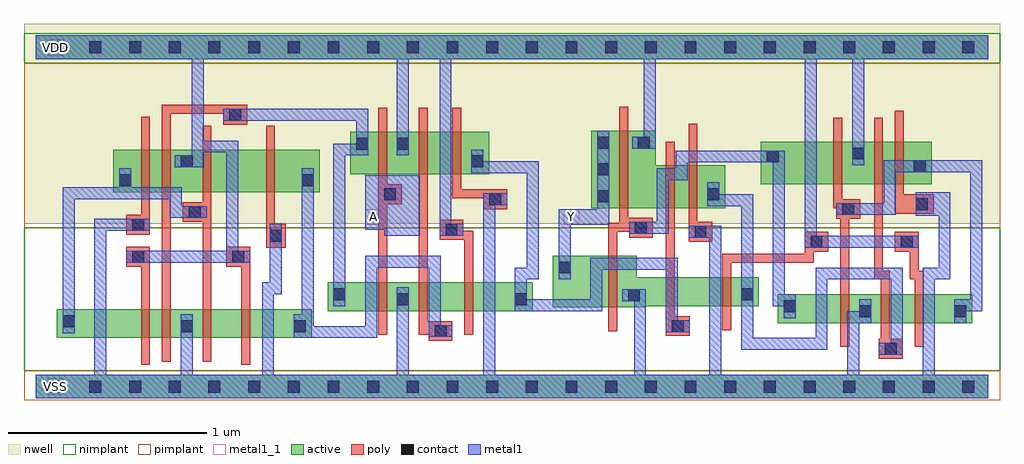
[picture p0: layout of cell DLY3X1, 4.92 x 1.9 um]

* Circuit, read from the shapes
.subckt DLY3X1 A VDD VSS Y
M1 n1 VDD n2 VSS nfet w=0.145u l=0.045u
M2 VSS n3 n1 VSS nfet w=0.145u l=0.045u
M3 n4 n2 VSS VSS nfet w=0.145u l=0.045u
M4 n5 VDD n4 VSS nfet w=0.145u l=0.045u
M5 VSS A n3 VSS nfet w=0.145u l=0.045u
M6 n6 n5 VSS VSS nfet w=0.145u l=0.045u
M7 n7 VDD n6 VSS nfet w=0.145u l=0.045u
M8 VSS n8 Y VSS nfet w=0.26u l=0.045u
M9 n9 n7 VSS VSS nfet w=0.145u l=0.045u
M10 n10 VDD n9 VSS nfet w=0.145u l=0.045u
M11 VSS n11 n8 VSS nfet w=0.145u l=0.045u
M12 n12 n10 VSS VSS nfet w=0.145u l=0.045u
M13 n11 VDD n12 VSS nfet w=0.145u l=0.045u
M14 n13 VSS n2 VDD pfet w=0.215u l=0.045u
M15 VDD n3 n13 VDD pfet w=0.215u l=0.045u
M16 n14 n2 VDD VDD pfet w=0.215u l=0.045u
M17 n5 VSS n14 VDD pfet w=0.215u l=0.045u
M18 VDD A n3 VDD pfet w=0.215u l=0.045u
M19 n15 n5 VDD VDD pfet w=0.215u l=0.045u
M20 n7 VSS n15 VDD pfet w=0.215u l=0.045u
M21 VDD n8 Y VDD pfet w=0.39u l=0.045u
M22 n16 n7 VDD VDD pfet w=0.215u l=0.045u
M23 n10 VSS n16 VDD pfet w=0.215u l=0.045u
M24 VDD n11 n8 VDD pfet w=0.215u l=0.045u
M25 n17 n10 VDD VDD pfet w=0.215u l=0.045u
M26 n11 VSS n17 VDD pfet w=0.215u l=0.045u
.ends

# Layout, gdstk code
import gdstk
lib = gdstk.Library(unit=1e-6, precision=5e-10)
def R(c, l, rs):  # rectangles x0, y0, x1, y1
    for r in rs: c.add(gdstk.rectangle(r[:2], r[2:], *l))
def A(c, l, x, y, w, h, nx, ny, dx, dy):  # array of equal rectangles
    R(c, l, [(x+i*dx, y+j*dy, x+i*dx+w, y+j*dy+h) for i in range(nx) for j in range(ny)])
def P(c, l, *ps):  # polygons
    for p in ps: c.add(gdstk.Polygon(p, *l))
active = (1, 0)
nwell = (2, 0)
poly = (3, 0)
nimplant = (4, 0)
pimplant = (5, 0)
contact = (6, 0)
metal1 = (7, 0)
metal1_1 = (7, 1)

dly3x1 = lib.new_cell('DLY3X1')
R(dly3x1, active, [(0,-0.06,4.8,0.06), (0.105,0.245,1.39,0.39), (3.74,0.32,4.72,0.465), (1.47,0.38,2.505,0.525), (0.39,0.98,1.43,1.195), (3.655,1.02,4.515,1.235), (1.585,1.07,2.285,1.285), (0,1.65,4.8,1.77)])
P(dly3x1, active, [(2.8,1.29),(3.125,1.29),(3.125,1.115),(3.475,1.115),(3.475,0.9),(2.8,0.9)],
  [(2.605,0.66),(3.03,0.66),(3.03,0.55),(3.645,0.55),(3.645,0.405),(3.075,0.405),(3.075,0.4),(2.605,0.4)])
R(dly3x1, nwell, [(-0.06,0.82,4.86,1.83)])
P(dly3x1, poly, [(0.635,1.42),(1.065,1.42),(1.065,1.32),(0.945,1.32),(0.945,1.375),(0.68,1.375),(0.68,0.125),(0.635,0.125)],
  [(0.53,1.36),(0.575,1.36),(0.575,0.765),(0.455,0.765),(0.455,0.865),(0.53,0.865)],
  [(0.84,1.315),(0.885,1.315),(0.885,0.125),(0.84,0.125),(0.84,0.83),(0.74,0.83),(0.74,0.93),(0.84,0.93)],
  [(1.16,1.315),(1.205,1.315),(1.205,0.82),(1.26,0.82),(1.26,0.7),(1.16,0.7)],
  [(1.725,1.405),(1.77,1.405),(1.77,1.02),(1.845,1.02),(1.845,0.92),(1.77,0.92),(1.77,0.26),(1.725,0.26)],
  [(1.93,1.405),(1.975,1.405),(1.975,0.33),(2.1,0.33),(2.1,0.23),(1.98,0.23),(1.98,0.26),(1.93,0.26)],
  [(2.1,1.405),(2.145,1.405),(2.145,0.995),(2.375,0.995),(2.375,0.895),(2.255,0.895),(2.255,0.95),(2.1,0.95)],
  [(2.94,1.41),(2.985,1.41),(2.985,0.85),(3.11,0.85),(3.11,0.75),(2.99,0.75),(2.99,0.78),(2.93,0.78),(2.93,0.28),(2.885,0.28),(2.885,0.825),(2.94,0.825)],
  [(4.02,1.355),(4.065,1.355),(4.065,0.945),(4.155,0.945),(4.155,0.845),(4.1,0.845),(4.1,0.2),(4.055,0.2),(4.055,0.845),(4.035,0.845),(4.035,0.9),(4.02,0.9)],
  [(4.225,1.355),(4.27,1.355),(4.27,0.585),(4.305,0.585),(4.305,0.24),(4.37,0.24),(4.37,0.14),(4.25,0.14),(4.25,0.24),(4.26,0.24),(4.26,0.54),(4.225,0.54)],
  [(4.33,1.39),(4.375,1.39),(4.375,0.97),(4.525,0.97),(4.525,0.87),(4.33,0.87)],
  [(3.175,1.235),(3.22,1.235),(3.22,0.355),(3.295,0.355),(3.295,0.255),(3.175,0.255)],
  [(3.29,1.325),(3.335,1.325),(3.335,0.83),(3.41,0.83),(3.41,0.73),(3.29,0.73)],
  [(2.035,0.84),(2.155,0.84),(2.155,0.785),(2.205,0.785),(2.205,0.26),(2.16,0.26),(2.16,0.74),(2.035,0.74)],
  [(3.875,0.78),(3.995,0.78),(3.995,0.68),(3.92,0.68),(3.92,0.625),(3.505,0.625),(3.505,0.285),(3.46,0.285),(3.46,0.67),(3.875,0.67)],
  [(4.33,0.78),(4.45,0.78),(4.45,0.585),(4.475,0.585),(4.475,0.2),(4.43,0.2),(4.43,0.54),(4.405,0.54),(4.405,0.68),(4.33,0.68)],
  [(0.455,0.705),(0.575,0.705),(0.575,0.11),(0.53,0.11),(0.53,0.605),(0.455,0.605)],
  [(0.96,0.705),(1.08,0.705),(1.08,0.11),(1.035,0.11),(1.035,0.605),(0.96,0.605)])
R(dly3x1, nimplant, [(-0.06,0.08,4.86,0.8), (-0.06,1.63,4.86,1.78)])
R(dly3x1, pimplant, [(-0.06,-0.07,4.86,0.08), (-0.06,0.8,4.86,1.63)])
A(dly3x1, contact, 0.07, -0.03, 0.06, 0.06, 24, 2, 0.2, 1.71)
A(dly3x1, contact, 2.83, 0.93, 0.06, 0.06, 1, 3, 0, 0.135)
R(dly3x1, contact, [(4.28,0.16,4.34,0.22), (2.01,0.25,2.07,0.31), (0.73,0.275,0.79,0.335), (1.3,0.275,1.36,0.335), (3.205,0.275,3.265,0.335), (0.135,0.3,0.195,0.36), (4.15,0.35,4.21,0.41), (4.63,0.35,4.69,0.41), (3.77,0.375,3.83,0.435), (1.82,0.41,1.88,0.47), (2.415,0.41,2.475,0.47), (2.985,0.43,3.045,0.49), (1.5,0.435,1.56,0.495), (3.555,0.435,3.615,0.495), (2.635,0.57,2.695,0.63), (0.485,0.625,0.545,0.685), (0.99,0.625,1.05,0.685), (3.905,0.7,3.965,0.76), (4.36,0.7,4.42,0.76), (1.18,0.73,1.24,0.79), (3.32,0.75,3.38,0.81), (2.065,0.76,2.125,0.82), (3.02,0.77,3.08,0.83), (0.485,0.785,0.545,0.845), (0.77,0.85,0.83,0.91), (4.065,0.865,4.125,0.925), (4.435,0.89,4.495,0.95), (2.285,0.915,2.345,0.975), (1.755,0.94,1.815,1), (3.385,0.94,3.445,1), (0.42,1.01,0.48,1.07), (1.34,1.01,1.4,1.07), (4.425,1.08,4.485,1.14), (0.73,1.105,0.79,1.165), (2.195,1.105,2.255,1.165), (3.685,1.13,3.745,1.19), (4.115,1.145,4.175,1.205), (1.615,1.195,1.675,1.255), (1.82,1.195,1.88,1.255), (3.035,1.2,3.095,1.26), (0.975,1.34,1.035,1.4)])
P(dly3x1, metal1, [(0,1.77),(4.8,1.77),(4.8,1.65),(4.175,1.65),(4.175,1.115),(4.115,1.115),(4.115,1.65),(3.935,1.65),(3.935,0.76),(4.45,0.76),(4.45,0.7),(3.875,0.7),(3.875,1.65),(3.125,1.65),(3.125,1.2),(3.005,1.2),(3.005,1.26),(3.065,1.26),(3.065,1.65),(2.095,1.65),(2.095,0.82),(2.155,0.82),(2.155,0.76),(2.035,0.76),(2.035,1.65),(1.88,1.65),(1.88,1.165),(1.82,1.165),(1.82,1.65),(0.845,1.65),(0.845,1.24),(1.02,1.24),(1.02,0.685),(1.08,0.685),(1.08,0.625),(0.455,0.625),(0.455,0.685),(0.96,0.685),(0.96,1.18),(0.845,1.18),(0.845,1.105),(0.7,1.105),(0.7,1.165),(0.785,1.165),(0.785,1.65),(0,1.65)],
  [(0.945,1.4),(1.675,1.4),(1.675,1.165),(1.56,1.165),(1.56,0.405),(1.5,0.405),(1.5,1.225),(1.615,1.225),(1.615,1.34),(0.945,1.34)],
  [(0.42,1.1),(0.48,1.1),(0.48,1.005),(0.735,1.005),(0.735,0.91),(0.86,0.91),(0.86,0.85),(0.675,0.85),(0.675,0.945),(0.195,0.945),(0.195,0.27),(0.135,0.27),(0.135,1.005),(0.42,1.005)],
  [(2.255,0.975),(2.375,0.975),(2.375,0.915),(2.315,0.915),(2.315,0.06),(3.015,0.06),(3.015,0.43),(2.955,0.43),(2.955,0.49),(3.075,0.49),(3.075,0.06),(3.395,0.06),(3.395,0.75),(3.29,0.75),(3.29,0.81),(3.455,0.81),(3.455,0.06),(4.09,0.06),(4.09,0.38),(4.15,0.38),(4.15,0.44),(4.21,0.44),(4.21,0.32),(4.15,0.32),(4.15,0.06),(4.47,0.06),(4.47,0.6),(4.55,0.6),(4.55,0.86),(4.435,0.86),(4.435,0.98),(4.61,0.98),(4.61,0.54),(4.53,0.54),(4.53,0.06),(4.8,0.06),(4.8,-0.06),(0,-0.06),(0,0.06),(0.295,0.06),(0.295,0.845),(0.575,0.845),(0.575,0.785),(0.355,0.785),(0.355,0.06),(0.73,0.06),(0.73,0.365),(0.79,0.365),(0.79,0.06),(1.14,0.06),(1.14,0.525),(1.18,0.525),(1.18,0.82),(1.24,0.82),(1.24,0.465),(1.2,0.465),(1.2,0.06),(1.82,0.06),(1.82,0.5),(1.88,0.5),(1.88,0.06),(2.255,0.06)],
  [(1.34,1.1),(1.4,1.1),(1.4,0.305),(1.66,0.305),(1.66,0.66),(2.04,0.66),(2.04,0.31),(2.1,0.31),(2.1,0.25),(1.98,0.25),(1.98,0.6),(1.72,0.6),(1.72,0.245),(1.3,0.245),(1.3,0.365),(1.34,0.365)],
  [(1.66,1.065),(1.935,1.065),(1.935,0.76),(1.755,0.76),(1.755,0.79),(1.66,0.79)],
  [(2.83,1.29),(2.89,1.29),(2.89,0.815),(2.695,0.815),(2.695,0.54),(2.635,0.54),(2.635,0.895),(2.83,0.895)],
  [(2.195,1.195),(2.255,1.195),(2.255,1.135),(2.535,1.135),(2.535,0.54),(2.475,0.54),(2.475,0.44),(2.795,0.44),(2.795,0.65),(3.235,0.65),(3.235,0.335),(3.295,0.335),(3.295,0.275),(3.175,0.275),(3.175,0.59),(2.855,0.59),(2.855,0.38),(2.415,0.38),(2.415,0.6),(2.475,0.6),(2.475,1.075),(2.195,1.075)],
  [(3.225,1.19),(3.775,1.19),(3.775,0.465),(3.83,0.465),(3.83,0.345),(3.77,0.345),(3.77,0.405),(3.715,0.405),(3.715,1.13),(3.285,1.13),(3.285,1.04),(3.19,1.04),(3.19,0.77),(2.99,0.77),(2.99,0.83),(3.13,0.83),(3.13,1.1),(3.225,1.1)],
  [(3.385,1.03),(3.445,1.03),(3.445,0.97),(3.615,0.97),(3.615,0.245),(3.93,0.245),(3.93,0.6),(4.37,0.6),(4.37,0.16),(4.25,0.16),(4.25,0.22),(4.31,0.22),(4.31,0.54),(3.99,0.54),(3.99,0.185),(3.555,0.185),(3.555,0.91),(3.385,0.91)],
  [(4.275,1.14),(4.77,1.14),(4.77,0.38),(4.69,0.38),(4.69,0.32),(4.63,0.32),(4.63,0.44),(4.71,0.44),(4.71,1.08),(4.335,1.08),(4.335,0.865),(4.035,0.865),(4.035,0.925),(4.275,0.925)])
R(dly3x1, metal1_1, [(0.06,-0.04,0.14,0.04), (1.66,0.815,1.74,0.895), (2.66,0.815,2.74,0.895), (0.06,1.67,0.14,1.75)])
dly3x1.add(gdstk.Label('Y', (2.7,0.855), layer=7, texttype=1))
dly3x1.add(gdstk.Label('A', (1.7,0.855), layer=7, texttype=1))
dly3x1.add(gdstk.Label('VDD', (0.1,1.71), layer=7, texttype=1))
dly3x1.add(gdstk.Label('VSS', (0.1,0), layer=7, texttype=1))
dly3x1.add(gdstk.Label('DLY3X1', (0,0), layer=63, texttype=0))

lib.write_gds('DLY3X1.gds')
